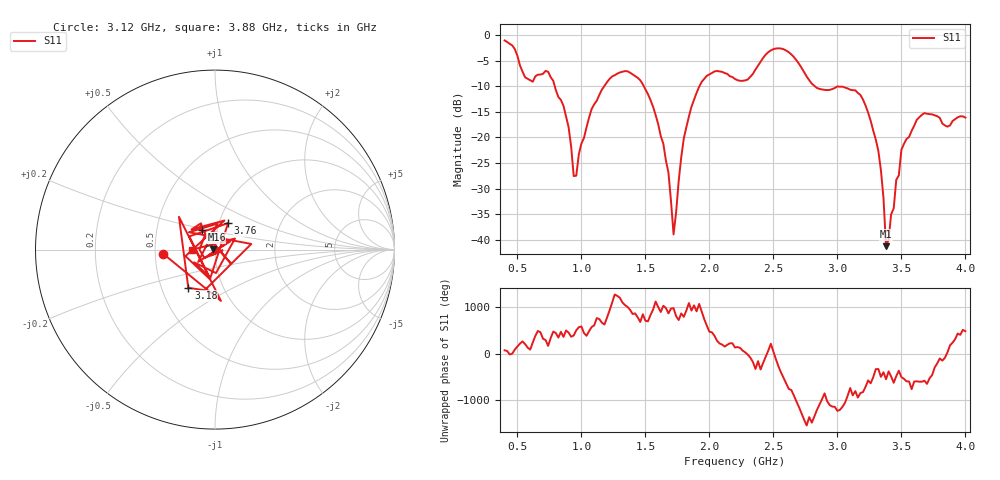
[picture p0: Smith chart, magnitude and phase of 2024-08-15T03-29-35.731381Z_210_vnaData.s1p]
!Created with skrf (http://scikit-rf.org).
# Hz S RI R 50.0
!freq ReS11 ImS11
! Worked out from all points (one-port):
!   181 points, 400 MHz to 4 GHz, reference 50 ohm
!   lowest |S11| = -41.2 dB at 3.38 GHz (marker M1), VSWR 1.02, Z = 49.1 + j0.119 ohm
!   |S11| at or under -10 dB: 791.7 MHz to 1.178 GHz (386.7 MHz wide, 39.3 % of centre); 1.487 GHz to 1.922 GHz (435.1 MHz wide, 25.5 % of centre); 2.823 GHz to end of sweep
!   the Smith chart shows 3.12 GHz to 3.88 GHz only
!   S11 on the Smith chart (normalised r, x): 3.12 GHz: 0.55, -0.03; 3.18 GHz: 0.68, -0.31; 3.6 GHz: 0.85, +0.19; 3.76 GHz: 1.10, +0.33; 3.88 GHz: 0.77, -0.00
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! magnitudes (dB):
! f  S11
! 400 MHz  -1.1
! 560 MHz  -8.3
! 740 MHz  -7.2
! 860 MHz  -13.8
! 960 MHz  -27.5
! 1.08 GHz  -14.5
! 1.3 GHz  -7.3
! 1.56 GHz  -14.0
! 1.68 GHz  -26.9
! 1.72 GHz  -38.9
! 1.76 GHz  -28.5
! 1.82 GHz  -18.0
! 1.94 GHz  -9.2
! 2.2 GHz  -8.6
! 2.66 GHz  -4.3
! 2.84 GHz  -10.3
! 3.1 GHz  -10.7
! 3.12 GHz  -10.8
! 3.18 GHz  -11.7
! 3.32 GHz  -22.7
! 3.36 GHz  -31.8
! 3.38 GHz  -41.2
! 3.5 GHz  -22.4
! 3.56 GHz  -19.9
! 3.6 GHz  -17.7
! 3.76 GHz  -15.7
! 3.88 GHz  -17.7
! 4 GHz  -16.1
